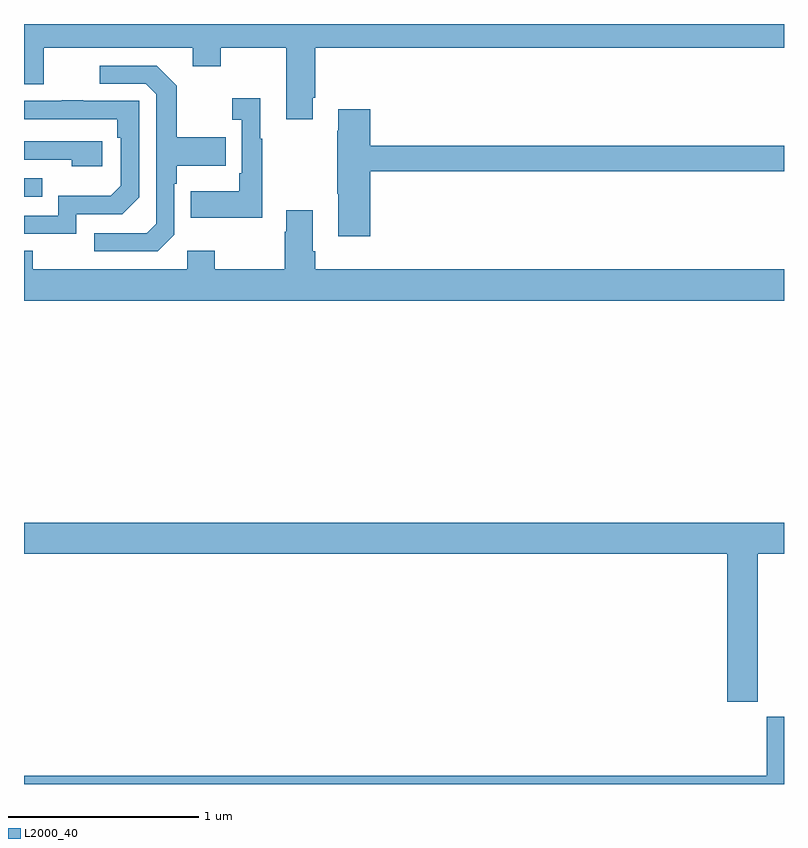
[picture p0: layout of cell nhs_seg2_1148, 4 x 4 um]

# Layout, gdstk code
import gdstk
lib = gdstk.Library(unit=1e-6, precision=1e-09)
def R(c, l, rs):  # rectangles x0, y0, x1, y1
    for r in rs: c.add(gdstk.rectangle(r[:2], r[2:], *l))
def P(c, l, *ps):  # polygons
    for p in ps: c.add(gdstk.Polygon(p, *l))
L2000_40 = (2000, 40)

nhs_seg2_1148 = lib.new_cell('nhs_seg2_1148')
R(nhs_seg2_1148, L2000_40, [(171,606.891,171.095,606.987)])
P(nhs_seg2_1148, L2000_40, [(172.519,607.411),(172.532,607.411),(172.532,607.676),(175,607.676),(175,607.8),(171,607.8),(171,607.482),(171.103,607.482),(171.103,607.676),(171.887,607.676),(171.887,607.577),(172.035,607.577),(172.035,607.676),(172.379,607.676),(172.379,607.299),(172.519,607.299)],
  [(171.792,606.69),(171.792,606.959),(171.805,606.959),(171.805,607.055),(172.061,607.055),(172.061,607.203),(171.805,607.203),(171.805,607.475),(171.699,607.581),(171.399,607.581),(171.399,607.485),(171.642,607.485),(171.696,607.431),(171.696,606.75),(171.645,606.699),(171.369,606.699),(171.369,606.603),(171.705,606.603)],
  [(172.255,607.195),(172.243,607.195),(172.243,607.408),(172.095,607.408),(172.095,607.295),(172.146,607.295),(172.146,607.015),(172.134,607.015),(172.134,606.919),(171.877,606.919),(171.877,606.779),(172.255,606.779)],
  [(171.276,606.798),(171.516,606.798),(171.606,606.888),(171.606,607.395),(171.311,607.395),(171.311,607.4),(171.199,607.4),(171.199,607.395),(171,607.395),(171,607.299),(171.49,607.299),(171.49,607.202),(171.51,607.202),(171.51,606.948),(171.457,606.895),(171.18,606.895),(171.18,606.792),(171,606.792),(171,606.696),(171.276,606.696)],
  [(172.823,607.024),(175,607.024),(175,607.16),(172.823,607.16),(172.823,607.351),(172.655,607.351),(172.655,607.238),(172.648,607.238),(172.648,606.907),(172.655,606.907),(172.655,606.684),(172.823,606.684)],
  [(171.412,607.182),(171,607.182),(171,607.086),(171.251,607.086),(171.251,607.052),(171.412,607.052)],
  [(175,606.508),(172.532,606.508),(172.532,606.604),(172.519,606.604),(172.519,606.82),(172.379,606.82),(172.379,606.707),(172.372,606.707),(172.372,606.508),(172.005,606.508),(172.005,606.607),(171.858,606.607),(171.858,606.508),(171.045,606.508),(171.045,606.607),(171,606.607),(171,606.344),(175,606.344)],
  [(174.861,605.012),(175,605.012),(175,605.176),(171,605.176),(171,605.012),(174.701,605.012),(174.701,604.233),(174.861,604.233)],
  [(175,604.153),(174.908,604.153),(174.908,603.844),(171,603.844),(171,603.8),(175,603.8)])

lib.write_gds('nhs_seg2_1148.gds')
